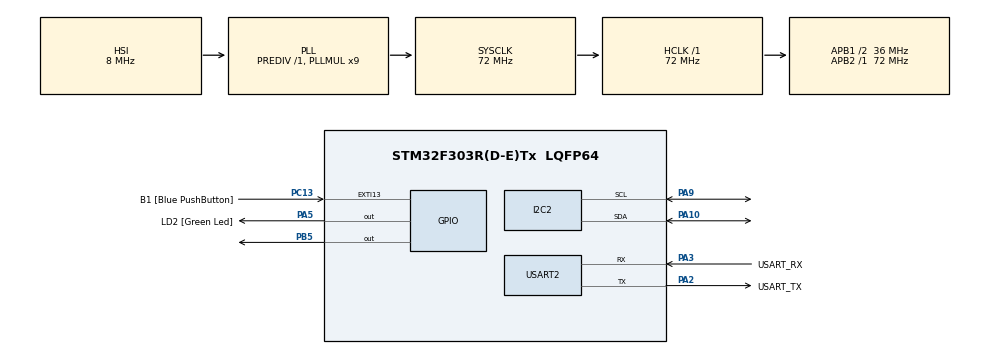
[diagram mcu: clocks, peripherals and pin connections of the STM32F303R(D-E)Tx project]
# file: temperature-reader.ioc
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Mcu.Family=STM32F3
Mcu.Name=STM32F303R(D-E)Tx
Mcu.Package=LQFP64
NVIC.PriorityGroup=NVIC_PRIORITYGROUP_0
PA10.Mode=I2C
PA10.Signal=I2C2_SDA
PA13.GPIO_Label=TMS
PA13.Mode=Serial_Wire
PA13.Signal=SYS_JTMS-SWDIO
PA14.GPIO_Label=TCK
PA14.Mode=Serial_Wire
PA14.Signal=SYS_JTCK-SWCLK
PA2.GPIO_Label=USART_TX
PA2.GPIO_Mode=GPIO_MODE_AF_PP
PA2.GPIO_PuPd=GPIO_NOPULL
PA2.GPIO_Speed=GPIO_SPEED_FREQ_LOW
PA2.Mode=Asynchronous
PA2.Signal=USART2_TX
PA3.GPIO_Label=USART_RX
PA3.GPIO_Mode=GPIO_MODE_AF_PP
PA3.GPIO_PuPd=GPIO_NOPULL
PA3.GPIO_Speed=GPIO_SPEED_FREQ_LOW
PA3.Mode=Asynchronous
PA3.Signal=USART2_RX
PA5.GPIO_Label=LD2 [Green Led]
PA5.GPIO_Mode=GPIO_MODE_OUTPUT_PP
PA5.GPIO_PuPd=GPIO_NOPULL
PA5.GPIO_Speed=GPIO_SPEED_FREQ_LOW
PA5.Signal=GPIO_Output
PA9.Mode=I2C
PA9.Signal=I2C2_SCL
PB3.GPIO_Label=SWO
PB3.Signal=SYS_JTDO-TRACESWO
PB5.Signal=GPIO_Output
PC13.GPIO_Label=B1 [Blue PushButton]
PC13.GPIO_ModeDefaultEXTI=GPIO_MODE_IT_FALLING
PC13.Signal=GPXTI13
PC14-OSC32_IN.Mode=LSE-External-Oscillator
PC14-OSC32_IN.Signal=RCC_OSC32_IN
PC15-OSC32_OUT.Mode=LSE-External-Oscillator
PC15-OSC32_OUT.Signal=RCC_OSC32_OUT
PF0-OSC_IN.Mode=HSE-External-Clock-Source
PF0-OSC_IN.Signal=RCC_OSC_IN
PF1-OSC_OUT.Signal=RCC_OSC_OUT
ProjectManager.HeapSize=0x200
ProjectManager.StackSize=0x400
ProjectManager.TargetToolchain=STM32CubeIDE
RCC.AHBFreq_Value=72000000
RCC.APB1CLKDivider=RCC_HCLK_DIV2
RCC.APB1Freq_Value=36000000
RCC.APB1TimFreq_Value=72000000
RCC.APB2Freq_Value=72000000
RCC.APB2TimFreq_Value=72000000
RCC.CortexFreq_Value=72000000
RCC.HCLKFreq_Value=72000000
RCC.HSE_VALUE=8000000
RCC.HSI_VALUE=8000000
RCC.PLLM=8
RCC.PLLMUL=RCC_PLL_MUL9
RCC.PLLN=336
RCC.PLLP=RCC_PLLP_DIV4
RCC.PLLQ=7
RCC.RCC_PLLsource_Clock_Source_FROM_HSE=RCC_HSE_PREDIV_DIV2
RCC.SYSCLKFreq_VALUE=72000000
RCC.SYSCLKSourceVirtual=RCC_SYSCLKSOURCE_PLLCLK
RCC.USBFreq_Value=72000000
TIM2.Period=0xffffffff-1
TIM2.Prescaler=72-1
USART2.VirtualMode-Asynchronous=VM_ASYNC
VP_TIM2_VS_ClockSourceINT.Mode=Internal
board=NUCLEO-F303RE

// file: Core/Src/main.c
/* USER CODE BEGIN Header */
/**
  ******************************************************************************
  * @file           : main.c
  * @brief          : Main program body
  ******************************************************************************
  * @attention
  *
  * Copyright (c) 2023 STMicroelectronics.
  * All rights reserved.
  *
  * This software is licensed under terms that can be found in the LICENSE file
  * in the root directory of this software component.
  * If no LICENSE file comes with this software, it is provided AS-IS.
  *
  ******************************************************************************
  */
/* USER CODE END Header */
#include "main.h"

/* USER CODE BEGIN Includes */
#include <stdlib.h>
#include <stdarg.h>
/* USER CODE END Includes */

/* USER CODE BEGIN PTD */
typedef struct DHT11_Data {
	uint8_t Temperature;
	uint8_t Humidity;
} DHT11_Data;
/* USER CODE END PTD */

/* USER CODE BEGIN PD */
#define DHT11_PORT GPIOB
#define DHT11_PIN GPIO_PIN_5
#define SLAVE_ADDRESS_LCD 0x4E
/* USER CODE END PD */

I2C_HandleTypeDef hi2c2;

TIM_HandleTypeDef htim2;

UART_HandleTypeDef huart2;

/* USER CODE BEGIN PV */
I2C_HandleTypeDef *i2c;
TIM_HandleTypeDef *timer;
UART_HandleTypeDef *uart;
/* USER CODE END PV */

void SystemClock_Config(void);
static void MX_GPIO_Init(void);
static void MX_USART2_UART_Init(void);
static void MX_TIM2_Init(void);
static void MX_I2C2_Init(void);
/* USER CODE BEGIN PFP */
void delay_us(uint32_t us);
void delay(uint32_t ms);
void PrintSerial(const char* str, ...);
void Set_Pin_Output (GPIO_TypeDef *GPIOx, uint16_t GPIO_Pin);
void Set_Pin_Input (GPIO_TypeDef *GPIOx, uint16_t GPIO_Pin);
void DHT11_Start(void);
uint8_t DHT11_Check_Response(void);
uint8_t DHT11_Read(void);
DHT11_Data DHT11_Get_Data(void);
void LCD_Send_CMD(char);
void LCD_Send_Data(char);
void LCD_Send_String(const char* str, ...);
void LCD_Init(void);
void LCD_Clear(void);
void LCD_Move_Cursor(int, int);
void Timer_Reset(void);
uint32_t Timer_Get_Tick(void);
/* USER CODE END PFP */

int main(void)
{

  /* MCU Configuration--------------------------------------------------------*/

  /* Reset of all peripherals, Initializes the Flash interface and the Systick. */
  HAL_Init();

  /* Configure the system clock */
  SystemClock_Config();

  /* Initialize all configured peripherals */
  MX_GPIO_Init();
  MX_USART2_UART_Init();
  MX_TIM2_Init();
  MX_I2C2_Init();
  /* USER CODE BEGIN 2 */

  i2c = &hi2c2;
  timer = &htim2;
  uart = &huart2;

  HAL_TIM_Base_Start(timer);

  int didInit = 0;

  /* USER CODE END 2 */

  /* Infinite loop */
  while (1)
  {

    /* USER CODE BEGIN 3 */
	  DHT11_Data data = DHT11_Get_Data();

	  if (didInit == 0) {
		  LCD_Init();
		  LCD_Send_String("Stupid DHT11");
		  didInit = 1;
		  LCD_Clear ();
	  }

	  LCD_Move_Cursor(0, 0);
	  LCD_Send_String("Temperature: %dC", data.Temperature);

	  LCD_Move_Cursor(1, 0);
	  LCD_Send_String("Humidity: %d%%", data.Humidity);

	  delay(1950);
	  HAL_GPIO_WritePin(LD2_GPIO_Port, LD2_Pin, GPIO_PIN_SET);
	  delay(50);
	  HAL_GPIO_WritePin(LD2_GPIO_Port, LD2_Pin, GPIO_PIN_RESET);
  }
  /* USER CODE END 3 */
}

void SystemClock_Config(void)
{
  RCC_OscInitTypeDef RCC_OscInitStruct = {0};
  RCC_ClkInitTypeDef RCC_ClkInitStruct = {0};
  RCC_PeriphCLKInitTypeDef PeriphClkInit = {0};

  /** Initializes the RCC Oscillators according to the specified parameters
  * in the RCC_OscInitTypeDef structure.
  */
  RCC_OscInitStruct.OscillatorType = RCC_OSCILLATORTYPE_HSI;
  RCC_OscInitStruct.HSIState = RCC_HSI_ON;
  RCC_OscInitStruct.HSICalibrationValue = RCC_HSICALIBRATION_DEFAULT;
  RCC_OscInitStruct.PLL.PLLState = RCC_PLL_ON;
  RCC_OscInitStruct.PLL.PLLSource = RCC_PLLSOURCE_HSI;
  RCC_OscInitStruct.PLL.PLLMUL = RCC_PLL_MUL9;
  RCC_OscInitStruct.PLL.PREDIV = RCC_PREDIV_DIV1;
  if (HAL_RCC_OscConfig(&RCC_OscInitStruct) != HAL_OK)
  {
    Error_Handler();
  }

  /** Initializes the CPU, AHB and APB buses clocks
  */
  RCC_ClkInitStruct.ClockType = RCC_CLOCKTYPE_HCLK|RCC_CLOCKTYPE_SYSCLK
                              |RCC_CLOCKTYPE_PCLK1|RCC_CLOCKTYPE_PCLK2;
  RCC_ClkInitStruct.SYSCLKSource = RCC_SYSCLKSOURCE_PLLCLK;
  RCC_ClkInitStruct.AHBCLKDivider = RCC_SYSCLK_DIV1;
  RCC_ClkInitStruct.APB1CLKDivider = RCC_HCLK_DIV2;
  RCC_ClkInitStruct.APB2CLKDivider = RCC_HCLK_DIV1;

  if (HAL_RCC_ClockConfig(&RCC_ClkInitStruct, FLASH_LATENCY_2) != HAL_OK)
  {
    Error_Handler();
  }
  PeriphClkInit.PeriphClockSelection = RCC_PERIPHCLK_USART2|RCC_PERIPHCLK_I2C2
                              |RCC_PERIPHCLK_TIM2;
  PeriphClkInit.Usart2ClockSelection = RCC_USART2CLKSOURCE_PCLK1;
  PeriphClkInit.I2c2ClockSelection = RCC_I2C2CLKSOURCE_HSI;
  PeriphClkInit.Tim2ClockSelection = RCC_TIM2CLK_HCLK;
  if (HAL_RCCEx_PeriphCLKConfig(&PeriphClkInit) != HAL_OK)
  {
    Error_Handler();
  }
}

static void MX_I2C2_Init(void)
{

  hi2c2.Instance = I2C2;
  hi2c2.Init.Timing = 0x2000090E;
  hi2c2.Init.OwnAddress1 = 0;
  hi2c2.Init.AddressingMode = I2C_ADDRESSINGMODE_7BIT;
  hi2c2.Init.DualAddressMode = I2C_DUALADDRESS_DISABLE;
  hi2c2.Init.OwnAddress2 = 0;
  hi2c2.Init.OwnAddress2Masks = I2C_OA2_NOMASK;
  hi2c2.Init.GeneralCallMode = I2C_GENERALCALL_DISABLE;
  hi2c2.Init.NoStretchMode = I2C_NOSTRETCH_DISABLE;
  if (HAL_I2C_Init(&hi2c2) != HAL_OK)
  {
    Error_Handler();
  }

  /** Configure Analogue filter
  */
  if (HAL_I2CEx_ConfigAnalogFilter(&hi2c2, I2C_ANALOGFILTER_ENABLE) != HAL_OK)
  {
    Error_Handler();
  }

  /** Configure Digital filter
  */
  if (HAL_I2CEx_ConfigDigitalFilter(&hi2c2, 0) != HAL_OK)
  {
    Error_Handler();
  }

}

static void MX_TIM2_Init(void)
{

  TIM_ClockConfigTypeDef sClockSourceConfig = {0};
  TIM_MasterConfigTypeDef sMasterConfig = {0};

  htim2.Instance = TIM2;
  htim2.Init.Prescaler = 72-1;
  htim2.Init.CounterMode = TIM_COUNTERMODE_UP;
  htim2.Init.Period = 0xffffffff-1;
  htim2.Init.ClockDivision = TIM_CLOCKDIVISION_DIV1;
  htim2.Init.AutoReloadPreload = TIM_AUTORELOAD_PRELOAD_DISABLE;
  if (HAL_TIM_Base_Init(&htim2) != HAL_OK)
  {
    Error_Handler();
  }
  sClockSourceConfig.ClockSource = TIM_CLOCKSOURCE_INTERNAL;
  if (HAL_TIM_ConfigClockSource(&htim2, &sClockSourceConfig) != HAL_OK)
  {
    Error_Handler();
  }
  sMasterConfig.MasterOutputTrigger = TIM_TRGO_RESET;
  sMasterConfig.MasterSlaveMode = TIM_MASTERSLAVEMODE_DISABLE;
  if (HAL_TIMEx_MasterConfigSynchronization(&htim2, &sMasterConfig) != HAL_OK)
  {
    Error_Handler();
  }

}

static void MX_USART2_UART_Init(void)
{

  huart2.Instance = USART2;
  huart2.Init.BaudRate = 38400;
  huart2.Init.WordLength = UART_WORDLENGTH_8B;
  huart2.Init.StopBits = UART_STOPBITS_1;
  huart2.Init.Parity = UART_PARITY_NONE;
  huart2.Init.Mode = UART_MODE_TX_RX;
  huart2.Init.HwFlowCtl = UART_HWCONTROL_NONE;
  huart2.Init.OverSampling = UART_OVERSAMPLING_16;
  huart2.Init.OneBitSampling = UART_ONE_BIT_SAMPLE_DISABLE;
  huart2.AdvancedInit.AdvFeatureInit = UART_ADVFEATURE_NO_INIT;
  if (HAL_UART_Init(&huart2) != HAL_OK)
  {
    Error_Handler();
  }

}

static void MX_GPIO_Init(void)
{
  GPIO_InitTypeDef GPIO_InitStruct = {0};

  /* GPIO Ports Clock Enable */
  __HAL_RCC_GPIOC_CLK_ENABLE();
  __HAL_RCC_GPIOF_CLK_ENABLE();
  __HAL_RCC_GPIOA_CLK_ENABLE();
  __HAL_RCC_GPIOB_CLK_ENABLE();

  /*Configure GPIO pin Output Level */
  HAL_GPIO_WritePin(LD2_GPIO_Port, LD2_Pin, GPIO_PIN_RESET);

  /*Configure GPIO pin Output Level */
  HAL_GPIO_WritePin(GPIOB, GPIO_PIN_5, GPIO_PIN_RESET);

  /*Configure GPIO pin : B1_Pin */
  GPIO_InitStruct.Pin = B1_Pin;
  GPIO_InitStruct.Mode = GPIO_MODE_IT_FALLING;
  GPIO_InitStruct.Pull = GPIO_NOPULL;
  HAL_GPIO_Init(B1_GPIO_Port, &GPIO_InitStruct);

  /*Configure GPIO pin : LD2_Pin */
  GPIO_InitStruct.Pin = LD2_Pin;
  GPIO_InitStruct.Mode = GPIO_MODE_OUTPUT_PP;
  GPIO_InitStruct.Pull = GPIO_NOPULL;
  GPIO_InitStruct.Speed = GPIO_SPEED_FREQ_LOW;
  HAL_GPIO_Init(LD2_GPIO_Port, &GPIO_InitStruct);

  /*Configure GPIO pin : PB5 */
  GPIO_InitStruct.Pin = GPIO_PIN_5;
  GPIO_InitStruct.Mode = GPIO_MODE_OUTPUT_PP;
  GPIO_InitStruct.Pull = GPIO_NOPULL;
  GPIO_InitStruct.Speed = GPIO_SPEED_FREQ_LOW;
  HAL_GPIO_Init(GPIOB, &GPIO_InitStruct);

}

/* USER CODE BEGIN 4 */
void delay_us (uint32_t us)
{
	Timer_Reset();
	while (Timer_Get_Tick() < us);
}

void delay (uint32_t ms)
{
	delay_us(ms * 1000);
}

void PrintSerial(const char* str, ...) {
	va_list args;
	va_start(args, str);

	int length = vsnprintf(NULL, 0, str, args);

	char* result = (char*)malloc((length + 1) * sizeof(char));

	vsprintf(result, str, args);

	va_end(args);

	HAL_UART_Transmit(uart, result, length, 100);

	free(result);
}

void DHT11_Start (void)
{
	Set_Pin_Output (DHT11_PORT, DHT11_PIN);  // set the pin as output
	HAL_GPIO_WritePin (DHT11_PORT, DHT11_PIN, GPIO_PIN_RESET);   // pull the pin low
	delay (18);   // wait for 18ms
	HAL_GPIO_WritePin (DHT11_PORT, DHT11_PIN, GPIO_PIN_SET);   // pull the pin high
	delay_us(30);
	Set_Pin_Input(DHT11_PORT, DHT11_PIN);    // set as input
}

void Timer_Reset() {
	__HAL_TIM_SET_COUNTER(timer, 0);
}

uint32_t Timer_Get_Tick() {
	return __HAL_TIM_GET_COUNTER(timer);
}

uint8_t DHT11_Check_Response (void)
{
	uint32_t timeout = 10000000;

	Timer_Reset();
	while (!(HAL_GPIO_ReadPin (DHT11_PORT, DHT11_PIN))) {
		if (Timer_Get_Tick() > timeout) {
			return 0;
		}
	}

	Timer_Reset();
	while ((HAL_GPIO_ReadPin (DHT11_PORT, DHT11_PIN))) {
		if (Timer_Get_Tick() > timeout) {
			return 0;
		}
	}

	return 1;
}

uint8_t DHT11_Read (void)
{
	uint8_t i,j;
	for (j=0;j<8;j++)
	{
		while (!(HAL_GPIO_ReadPin (DHT11_PORT, DHT11_PIN)));   // wait for the pin to go high
		delay_us (40);   // wait for 40 us
		if (!(HAL_GPIO_ReadPin (DHT11_PORT, DHT11_PIN)))   // if the pin is low
		{
			i&= ~(1<<(7-j));   // write 0
		}
		else i|= (1<<(7-j));  // if the pin is high, write 1
		while ((HAL_GPIO_ReadPin (DHT11_PORT, DHT11_PIN)));  // wait for the pin to go low
	}
	return i;
}

DHT11_Data DHT11_Get_Data() {
	  uint8_t Rh_byte2, Temp_byte2, SUM, RH, TEMP;

	  DHT11_Start();
	  if(!DHT11_Check_Response()) {
		  PrintSerial("Error reading DHT11\r\n");
		  return DHT11_Get_Data();
	  }

	  RH = DHT11_Read ();
	  Rh_byte2 = DHT11_Read ();

	  TEMP = DHT11_Read ();
	  Temp_byte2 = DHT11_Read ();

	  SUM = DHT11_Read();

	  if (RH + Rh_byte2 + TEMP + Temp_byte2 != SUM) {
		  PrintSerial("Checksum failed!\r\n");
	  }

	  DHT11_Data data = { .Temperature = TEMP, .Humidity = RH };

	  PrintSerial("Temperature: %d, Humidity: %d\r\n", data.Temperature, data.Humidity);

	  return data;
}

void LCD_Send_CMD (char cmd)
{
  char data_u, data_l;
	uint8_t data_t[4];
	data_u = (cmd&0xf0);
	data_l = ((cmd<<4)&0xf0);
	data_t[0] = data_u|0x0C;  //en=1, rs=0
	data_t[1] = data_u|0x08;  //en=0, rs=0
	data_t[2] = data_l|0x0C;  //en=1, rs=0
	data_t[3] = data_l|0x08;  //en=0, rs=0
	HAL_I2C_Master_Transmit (i2c, SLAVE_ADDRESS_LCD,(uint8_t *) data_t, 4, 100);
}

void LCD_Send_Data (char data)
{
	char data_u, data_l;
	uint8_t data_t[4];
	data_u = (data&0xf0);
	data_l = ((data<<4)&0xf0);
	data_t[0] = data_u|0x0D;  //en=1, rs=0
	data_t[1] = data_u|0x09;  //en=0, rs=0
	data_t[2] = data_l|0x0D;  //en=1, rs=0
	data_t[3] = data_l|0x09;  //en=0, rs=0
	HAL_I2C_Master_Transmit (i2c, SLAVE_ADDRESS_LCD,(uint8_t *) data_t, 4, 100);
}

void LCD_Clear (void)
{
	LCD_Send_CMD(0x01);
	delay(10);
}

void LCD_Move_Cursor(int row, int col)
{
    switch (row)
    {
        case 0:
            col |= 0x80;
            break;
        case 1:
            col |= 0xC0;
            break;
    }

    LCD_Send_CMD (col);
}

void LCD_Init (void)
{
	// 4 bit initialisation
	delay(50);  // wait for >40ms
	LCD_Send_CMD (0x30);
	delay(5);  // wait for >4.1ms
	LCD_Send_CMD (0x30);
	delay(1);  // wait for >100us
	LCD_Send_CMD (0x30);
	delay(10);
	LCD_Send_CMD (0x20);  // 4bit mode
	delay(10);

  // display initialisation
	LCD_Send_CMD (0x28); // Function set --> DL=0 (4 bit mode), N = 1 (2 line display) F = 0 (5x8 characters)
	delay(1);
	LCD_Send_CMD (0x08); //Display on/off control --> D=0,C=0, B=0  ---> display off
	delay(1);
	LCD_Send_CMD (0x01);  // clear display
	delay(1);
	delay(1);
	LCD_Send_CMD (0x06); //Entry mode set --> I/D = 1 (increment cursor) & S = 0 (no shift)
	delay(1);
	LCD_Send_CMD (0x0C); //Display on/off control --> D = 1, C and B = 0. (Cursor and blink, last two bits)
}

void LCD_Send_String (const char *str, ...)
{
	va_list args;
	va_start(args, str);

	int length = vsnprintf(NULL, 0, str, args);

	char* result = (char*)malloc((length + 1) * sizeof(char));

	vsprintf(result, str, args);

	va_end(args);

	while (*result) LCD_Send_Data (*result++);
	result -= length;

	free(result);
}

void Set_Pin_Output (GPIO_TypeDef *GPIOx, uint16_t GPIO_Pin)
{
	GPIO_InitTypeDef GPIO_InitStruct = {0};
	GPIO_InitStruct.Pin = GPIO_Pin;
	GPIO_InitStruct.Mode = GPIO_MODE_OUTPUT_PP;
	GPIO_InitStruct.Speed = GPIO_SPEED_FREQ_LOW;
	HAL_GPIO_Init(GPIOx, &GPIO_InitStruct);
}

void Set_Pin_Input (GPIO_TypeDef *GPIOx, uint16_t GPIO_Pin)
{
	GPIO_InitTypeDef GPIO_InitStruct = {0};
	GPIO_InitStruct.Pin = GPIO_Pin;
	GPIO_InitStruct.Mode = GPIO_MODE_INPUT;
	GPIO_InitStruct.Pull = GPIO_PULLUP;
	HAL_GPIO_Init(GPIOx, &GPIO_InitStruct);
}

/* USER CODE END 4 */

void Error_Handler(void)
{
  __disable_irq();
  while (1)
  {
  }
}
